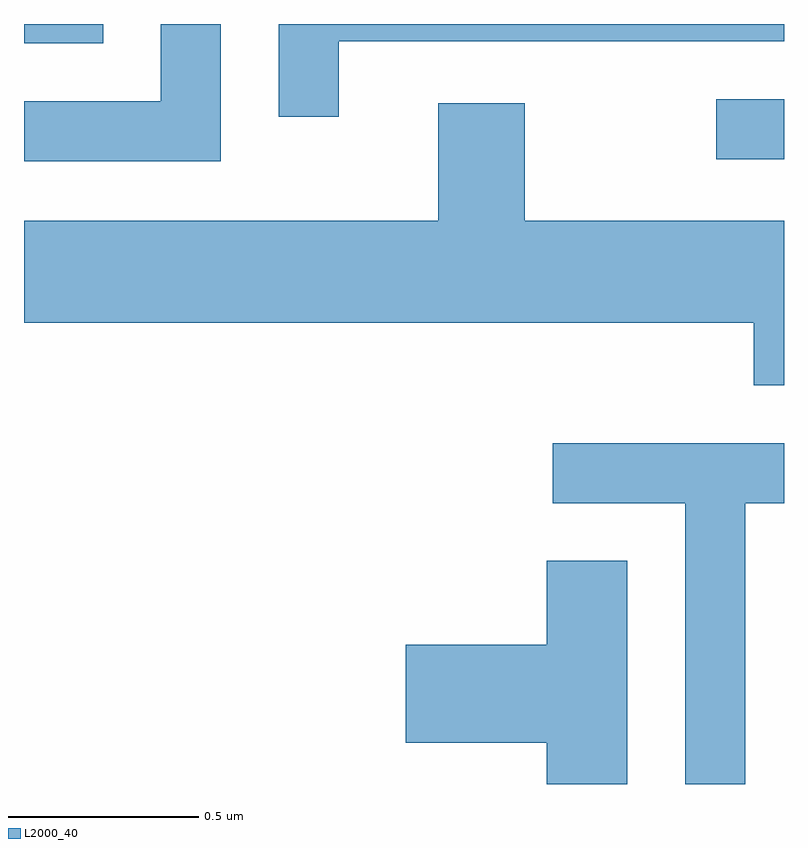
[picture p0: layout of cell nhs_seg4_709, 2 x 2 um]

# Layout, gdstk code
import gdstk
lib = gdstk.Library(unit=1e-6, precision=1e-09)
def R(c, l, rs):  # rectangles x0, y0, x1, y1
    for r in rs: c.add(gdstk.rectangle(r[:2], r[2:], *l))
def P(c, l, *ps):  # polygons
    for p in ps: c.add(gdstk.Polygon(p, *l))
L2000_40 = (2000, 40)

nhs_seg4_709 = lib.new_cell('nhs_seg4_709')
R(nhs_seg4_709, L2000_40, [(192.433,1279.626,192.611,1279.784), (190.611,1279.931,190.819,1279.982)])
P(nhs_seg4_709, L2000_40, [(191.129,1279.982),(190.971,1279.982),(190.971,1279.779),(190.611,1279.779),(190.611,1279.621),(191.129,1279.621)],
  [(191.439,1279.936),(192.611,1279.936),(192.611,1279.982),(191.281,1279.982),(191.281,1279.738),(191.439,1279.738)],
  [(192.611,1279.464),(191.929,1279.464),(191.929,1279.774),(191.701,1279.774),(191.701,1279.464),(190.611,1279.464),(190.611,1279.196),(192.531,1279.196),(192.531,1279.031),(192.611,1279.031)],
  [(192.509,1278.721),(192.611,1278.721),(192.611,1278.879),(192.003,1278.879),(192.003,1278.721),(192.351,1278.721),(192.351,1277.982),(192.509,1277.982)],
  [(192.199,1278.569),(191.986,1278.569),(191.986,1278.349),(191.616,1278.349),(191.616,1278.091),(191.986,1278.091),(191.986,1277.982),(192.199,1277.982)])

lib.write_gds('nhs_seg4_709.gds')
